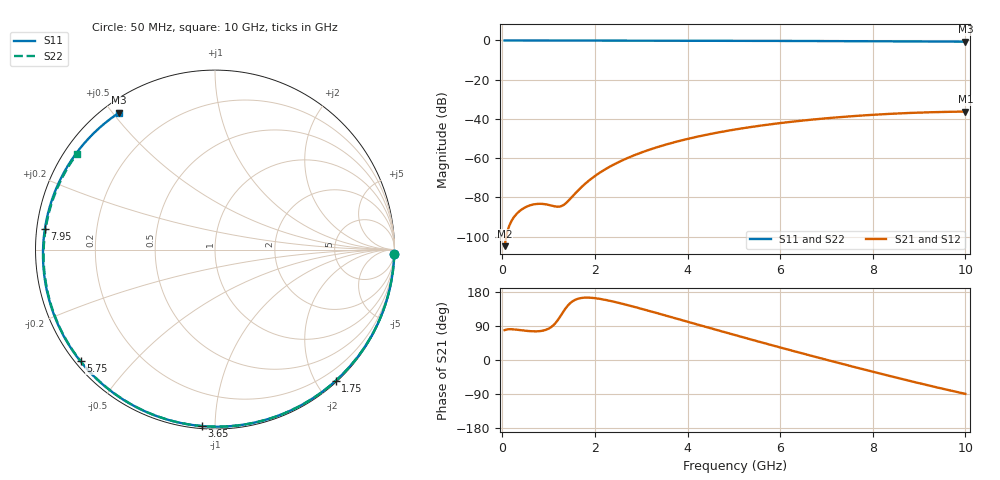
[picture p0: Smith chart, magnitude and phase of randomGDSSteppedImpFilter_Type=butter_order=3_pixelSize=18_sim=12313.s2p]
! freq	dB(S11)	phase(S11)	dB(S12)	phase(S12)
!  dB(S21)	phase(S21)	dB(S22)	phase(S22)
!S-par simulation data
#  GHz  S  DB  R 50
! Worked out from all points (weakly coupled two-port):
!   200 points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, 50 MHz to 10 GHz, reference 50 ohm
!   highest |S21| = -36.25 dB at 10 GHz (marker M1); lowest = -104.8 dB at 50 MHz (marker M2)
!   lowest |S11| = -0.6 dB at 10 GHz (marker M3), VSWR 28.06, Z = 2.26 + j26 ohm
!   |S11| at or under -10 dB: nowhere
!   |S22| runs from -0.6 to 0.0 dB; largest |S21 - S12| = 0
!   S11 on the Smith chart (normalised r, x): 50 MHz: 2, -85; 1.75 GHz: 0.02, -2.28; 3.65 GHz: 0.01, -0.93; 5.75 GHz: 0.01, -0.36; 7.95 GHz: 0.02, +0.06; 10 GHz: 0.05, +0.52
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0.05  -0.00 -1.3  -104.83 78.9  -104.83 78.9  -0.00 -1.3
0.4  -0.02 -11.0  -86.45 78.6  -86.45 78.6  -0.02 -10.5
0.75  -0.03 -20.7  -83.31 75.7  -83.31 75.7  -0.03 -19.6
1.1  -0.04 -30.2  -84.37 91.3  -84.37 91.3  -0.04 -28.6
1.5  -0.05 -40.9  -79.87 153.4  -79.87 153.4  -0.05 -38.8
1.75  -0.06 -47.4  -73.85 164.3  -73.85 164.3  -0.06 -45.0
2.05  -0.07 -55.2  -68.26 162.4  -68.26 162.4  -0.07 -52.4
2.45  -0.08 -65.3  -62.72 152.7  -62.72 152.7  -0.08 -62.0
2.9  -0.10 -76.4  -58.03 138.6  -58.03 138.6  -0.09 -72.5
3.4  -0.11 -88.4  -53.99 121.7  -53.99 121.7  -0.11 -83.8
3.65  -0.12 -94.2  -52.29 113.1  -52.29 113.1  -0.12 -89.3
4.3  -0.15 -108.9  -48.59 90.7  -48.59 90.7  -0.14 -103.2
5.05  -0.19 -125.4  -45.28 65.0  -45.28 65.0  -0.17 -118.5
5.75  -0.23 -140.3  -42.86 41.4  -42.86 41.4  -0.21 -132.3
6.25  -0.26 -150.8  -41.42 24.9  -41.42 24.9  -0.24 -141.9
6.7  -0.29 -160.2  -40.31 10.2  -40.31 10.2  -0.27 -150.5
7.35  -0.35 -174.0  -38.96 -10.6  -38.96 -10.6  -0.32 -162.8
7.95  -0.40 173.1  -37.97 -29.3  -37.97 -29.3  -0.38 -174.2
8.35  -0.44 164.2  -37.43 -41.6  -37.43 -41.6  -0.41 178.2
9.15  -0.53 145.8  -36.66 -65.5  -36.66 -65.5  -0.49 162.5
9.55  -0.57 136.2  -36.41 -77.0  -36.41 -77.0  -0.53 154.5
10  -0.62 125.0  -36.25 -89.4  -36.25 -89.4  -0.58 145.2
